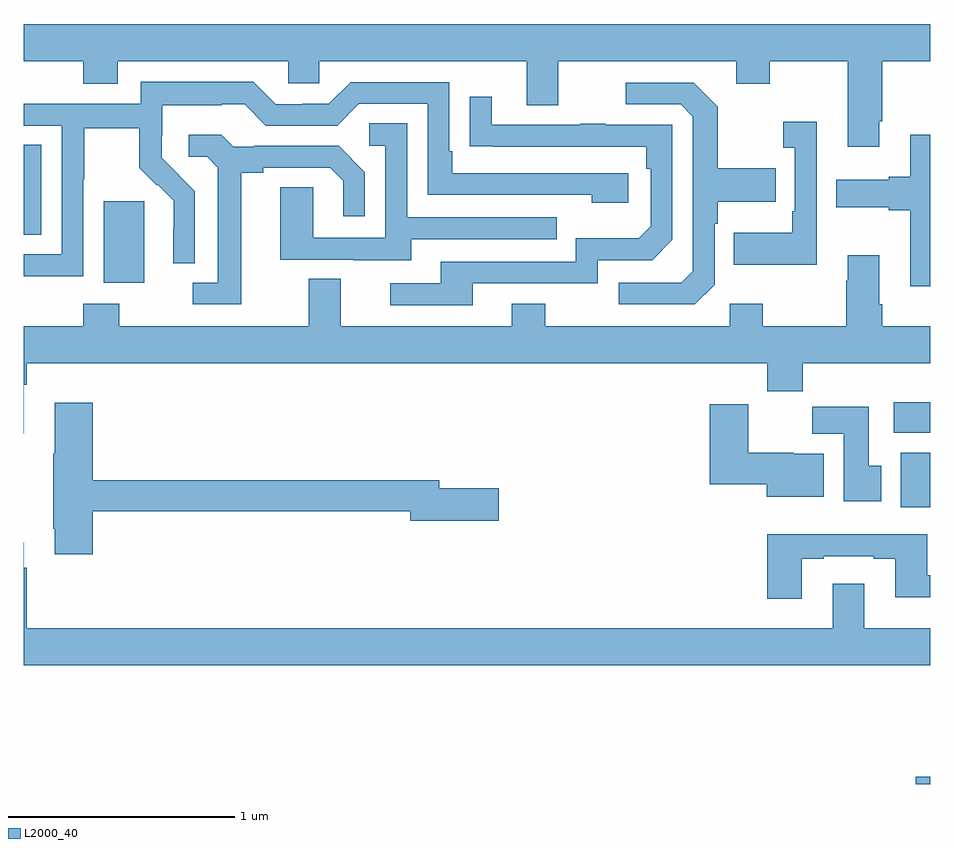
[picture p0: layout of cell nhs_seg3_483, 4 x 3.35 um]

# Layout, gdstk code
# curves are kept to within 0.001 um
import gdstk
lib = gdstk.Library(unit=1e-6, precision=1e-09)
def R(c, l, rs):  # rectangles x0, y0, x1, y1
    for r in rs: c.add(gdstk.rectangle(r[:2], r[2:], *l))
def P(c, l, *ps):  # polygons
    for p in ps: c.add(gdstk.Polygon(p, *l))
L2000_40 = (2000, 40)

nhs_seg3_483 = lib.new_cell('nhs_seg3_483')
R(nhs_seg3_483, L2000_40, [(138.936,692.4,139,692.432), (138.869,693.62,139,693.862), (138.837,693.95,139,694.084), (135.353,694.61,135.532,694.971), (135,694.822,135.079,695.219)])
P(nhs_seg3_483, L2000_40, [(138.775,695.323),(138.788,695.323),(138.788,695.588),(139,695.588),(139,695.752),(135,695.752),(135,695.588),(135.263,695.588),(135.263,695.489),(135.415,695.489),(135.415,695.588),(136.167,695.588),(136.167,695.49),(136.305,695.49),(136.305,695.588),(137.219,695.588),(137.219,695.394),(137.359,695.394),(137.359,695.588),(138.143,695.588),(138.143,695.489),(138.291,695.489),(138.291,695.588),(138.635,695.588),(138.635,695.211),(138.775,695.211)],
  [(135.264,695.068),(135.267,695.068),(135.267,695.292),(135.511,695.292),(135.511,695.117),(135.588,695.04),(135.591,695.043),(135.662,694.973),(135.662,694.85),(135.66,694.85),(135.66,694.696),(135.756,694.696),(135.756,695.014),(135.61,695.162),(135.61,695.259),(135.612,695.259),(135.612,695.393),(135.875,695.393),(135.875,695.397),(135.975,695.397),(136.068,695.304),(136.383,695.304),(136.479,695.4),(136.782,695.4),(136.782,694.998),(137.507,694.998),(137.507,694.964),(137.668,694.964),(137.668,695.094),(136.891,695.094),(136.891,695.191),(136.878,695.191),(136.878,695.496),(136.443,695.496),(136.347,695.4),(136.229,695.4),(136.229,695.397),(136.113,695.397),(136.013,695.497),(135.516,695.497),(135.516,695.4),(135,695.4),(135,695.304),(135.168,695.304),(135.168,694.737),(135,694.737),(135,694.639),(135.264,694.639)],
  [(138.048,694.602),(138.048,694.871),(138.061,694.871),(138.061,694.967),(138.317,694.967),(138.317,695.115),(138.061,695.115),(138.061,695.387),(137.955,695.493),(137.655,695.493),(137.655,695.397),(137.898,695.397),(137.952,695.343),(137.952,694.662),(137.901,694.611),(137.625,694.611),(137.625,694.515),(137.961,694.515)],
  [(136.981,694.608),(137.532,694.608),(137.532,694.71),(137.772,694.71),(137.862,694.8),(137.862,695.307),(137.567,695.307),(137.567,695.312),(137.455,695.312),(137.455,695.307),(137.065,695.307),(137.065,695.431),(136.969,695.431),(136.969,695.212),(137.746,695.211),(137.746,695.114),(137.766,695.114),(137.766,694.86),(137.713,694.807),(137.436,694.807),(137.436,694.704),(136.841,694.704),(136.841,694.608),(136.617,694.608),(136.617,694.512),(136.981,694.512)],
  [(138.498,695.32),(138.351,695.32),(138.351,695.207),(138.402,695.207),(138.402,694.927),(138.39,694.927),(138.39,694.831),(138.133,694.831),(138.133,694.691),(138.498,694.691)],
  [(136.711,694.803),(137.351,694.803),(137.351,694.899),(136.692,694.899),(136.692,695.315),(136.524,695.315),(136.524,695.214),(136.596,695.214),(136.596,694.809),(136.278,694.809),(136.278,695.033),(136.133,695.033),(136.133,694.713),(136.457,694.713),(136.457,694.709),(136.711,694.709)],
  [(139,695.263),(138.911,695.263),(138.911,695.078),(138.815,695.078),(138.815,695.065),(138.585,695.065),(138.585,694.943),(138.815,694.943),(138.815,694.931),(138.911,694.931),(138.911,694.596),(139,694.596)],
  [(135.961,695.096),(136.057,695.096),(136.057,695.118),(136.352,695.118),(136.409,695.061),(136.409,694.905),(136.506,694.905),(136.506,695.098),(136.39,695.214),(136.018,695.214),(136.018,695.211),(135.924,695.211),(135.872,695.263),(135.729,695.263),(135.729,695.166),(135.81,695.166),(135.857,695.119),(135.857,694.611),(135.747,694.611),(135.747,694.515),(135.961,694.515)],
  [(135.001,694.16),(135.014,694.16),(135.014,694.256),(138.281,694.256),(138.281,694.132),(138.437,694.132),(138.437,694.256),(139,694.256),(139,694.42),(138.788,694.42),(138.788,694.516),(138.775,694.516),(138.775,694.732),(138.635,694.732),(138.635,694.619),(138.628,694.619),(138.628,694.42),(138.261,694.42),(138.261,694.519),(138.114,694.519),(138.114,694.42),(137.301,694.42),(137.301,694.519),(137.153,694.519),(137.153,694.42),(136.399,694.42),(136.399,694.628),(136.259,694.628),(136.259,694.42),(135.423,694.42),(135.423,694.519),(135.263,694.519),(135.263,694.42),(135,694.42),(135,693.945),(135.001,693.945)],
  [(135.305,693.604),(136.706,693.604),(136.706,693.562),(137.095,693.562),(137.095,693.704),(136.834,693.704),(136.834,693.74),(135.305,693.74),(135.305,694.081),(135.137,694.081),(135.137,693.857),(135.13,693.857),(135.13,693.526),(135.137,693.526),(135.137,693.414),(135.305,693.414)],
  [(138.529,693.856),(138.396,693.856),(138.396,693.862),(138.196,693.862),(138.196,694.075),(138.026,694.075),(138.026,693.722),(138.278,693.722),(138.278,693.668),(138.529,693.668)],
  [(138.784,693.804),(138.727,693.804),(138.727,694.063),(138.478,694.063),(138.478,693.944),(138.617,693.944),(138.617,693.648),(138.784,693.648)],
  [(138.433,693.393),(138.529,693.393),(138.529,693.405),(138.749,693.405),(138.749,693.393),(138.845,693.393),(138.845,693.224),(139,693.224),(139,693.321),(138.985,693.321),(138.985,693.502),(138.281,693.502),(138.281,693.216),(138.433,693.216)],
  [(139,693.088),(138.709,693.088),(138.709,693.283),(138.569,693.283),(138.569,693.088),(135.014,693.088),(135.014,693.353),(135.001,693.353),(135.001,693.466),(135,693.466),(135,692.924),(139,692.924)])

lib.write_gds('nhs_seg3_483.gds')
